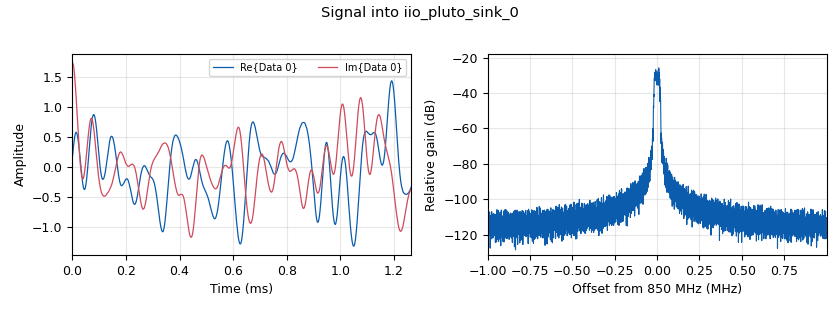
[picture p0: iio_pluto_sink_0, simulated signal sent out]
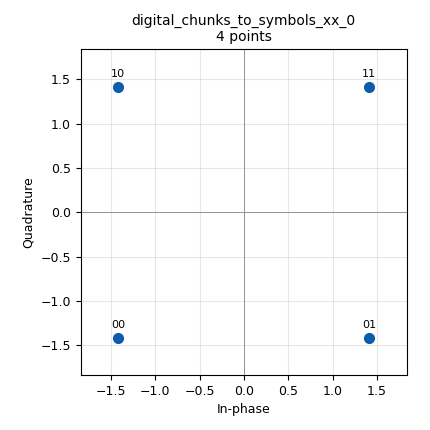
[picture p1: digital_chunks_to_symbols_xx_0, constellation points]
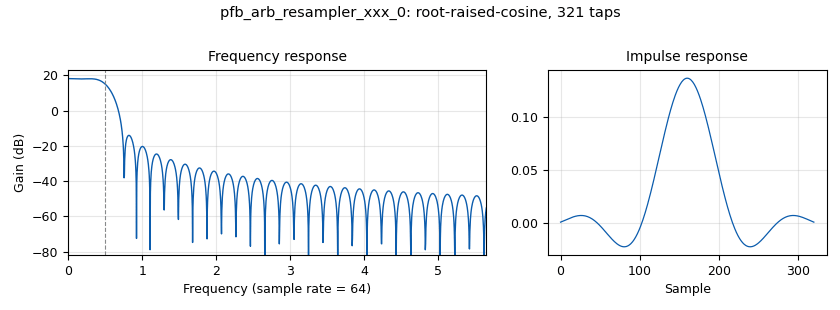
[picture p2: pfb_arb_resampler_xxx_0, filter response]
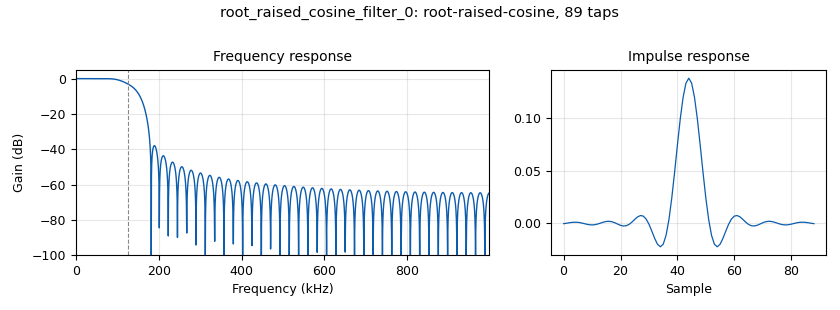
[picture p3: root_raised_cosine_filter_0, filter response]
options:
  parameters:
    author: emmanuelkwakyenyantakyi
    generate_options: qt_gui
    id: qpsk_mod_5_2
    output_language: python
    title: GRC QPSK modulator
  states: {}

blocks:
- name: nfilts
  id: variable
  parameters:
    value: '8'
  states: {}
- name: noise_level
  id: variable_qtgui_range
  parameters:
    start: '0'
    step: '0.1'
    stop: '10'
    value: '0'
  states: {}
- name: rrc_taps_tr
  id: variable
  parameters:
    comment: firdes.root_raised_cosine(nfilts, nfilts * sps, 1.0, 0.4, int(5 * sps * nfilts))
    value: firdes.root_raised_cosine(nfilts, nfilts * sps, 1.0, 0.4, int(5 * sps * nfilts))
  states: {}
- name: samp_rate
  id: variable
  parameters:
    value: 2e6
  states: {}
- name: sps
  id: variable
  parameters:
    value: '8'
  states: {}
- name: symb_rate
  id: variable
  parameters:
    value: 250e3
  states: {}
- name: analog_noise_source_x_0
  id: analog_noise_source_x
  parameters:
    amp: noise_level
    noise_type: analog.GR_GAUSSIAN
    seed: '0'
    type: complex
  states: {}
- name: analog_random_source_x_0
  id: analog_random_source_x
  parameters:
    max: '255'
    min: '0'
    num_samps: '10000'
    repeat: 'True'
    type: byte
  states: {}
- name: blocks_add_xx_0
  id: blocks_add_xx
  parameters:
    type: complex
  states: {}
- name: blocks_packed_to_unpacked_xx_0
  id: blocks_packed_to_unpacked_xx
  parameters:
    bits_per_chunk: digital.constellation_qpsk().bits_per_symbol()
    comment: digital.constellation_qpsk().bits_per_symbol()
    endianness: gr.GR_MSB_FIRST
    type: byte
  states: {}
- name: digital_chunks_to_symbols_xx_0
  id: digital_chunks_to_symbols_xx
  parameters:
    comment: digital.constellation_qpsk().points()
    dimension: '1'
    in_type: byte
    out_type: complex
    symbol_table: digital.constellation_qpsk().points()
  states: {}
- name: digital_map_bb_0
  id: digital_map_bb
  parameters:
    comment: digital.constellation_qpsk().pre_diff_code()
    map: digital.constellation_qpsk().pre_diff_code()
  states: {}
- name: digital_symbol_sync_xx_0
  id: digital_symbol_sync_xx
  parameters:
    constellation: digital.constellation_qpsk().base()
    damping: '1.0'
    loop_bw: '0.045'
    max_dev: '1.5'
    osps: '1'
    resamp_type: digital.IR_MMSE_8TAP
    sps: sps
    ted_gain: '1.0'
    ted_type: digital.TED_MUELLER_AND_MULLER
    type: cc
  states: {}
- name: iio_pluto_sink_0
  id: iio_pluto_sink
  parameters:
    attenuation1: '10.0'
    bandwidth: '20000000'
    buffer_size: '32768'
    cyclic: 'False'
    filter_source: '''Auto'''
    frequency: int(850e6)
    samplerate: int(samp_rate)
    type: fc32
    uri: usb:0.2.5
  states: {}
- name: iio_pluto_source_0
  id: iio_pluto_source
  parameters:
    bandwidth: '20000000'
    bbdc: 'True'
    buffer_size: '32768'
    comment: Reception side
    filter_source: '''Auto'''
    frequency: int(850e6)
    gain1: '''manual'''
    manual_gain1: '40'
    quadrature: 'True'
    rfdc: 'True'
    samplerate: int(samp_rate)
    type: fc32
    uri: usb:0.2.5
  states: {}
- name: pfb_arb_resampler_xxx_0
  id: pfb_arb_resampler_xxx
  parameters:
    atten: '100'
    nfilts: nfilts
    rrate: sps
    taps: rrc_taps_tr
    type: ccf
  states: {}
- name: qtgui_const_sink_x_0
  id: qtgui_const_sink_x
  parameters:
    autoscale: 'True'
    size: 1024*2
    type: complex
  states: {}
- name: root_raised_cosine_filter_0
  id: root_raised_cosine_filter
  parameters:
    alpha: '0.4'
    decim: '1'
    gain: '1'
    ntaps: int(11*sps)
    samp_rate: samp_rate
    sym_rate: samp_rate/sps
    type: fir_filter_ccf
  states: {}

connections:
- [analog_noise_source_x_0, '0', blocks_add_xx_0, '1']
- [analog_random_source_x_0, '0', blocks_packed_to_unpacked_xx_0, '0']
- [blocks_add_xx_0, '0', root_raised_cosine_filter_0, '0']
- [blocks_packed_to_unpacked_xx_0, '0', digital_map_bb_0, '0']
- [digital_chunks_to_symbols_xx_0, '0', pfb_arb_resampler_xxx_0, '0']
- [digital_map_bb_0, '0', digital_chunks_to_symbols_xx_0, '0']
- [digital_symbol_sync_xx_0, '0', qtgui_const_sink_x_0, '0']
- [iio_pluto_source_0, '0', blocks_add_xx_0, '0']
- [pfb_arb_resampler_xxx_0, '0', iio_pluto_sink_0, '0']
- [root_raised_cosine_filter_0, '0', digital_symbol_sync_xx_0, '0']

metadata:
  file_format: 1
  grc_version: 3.10.12.0
